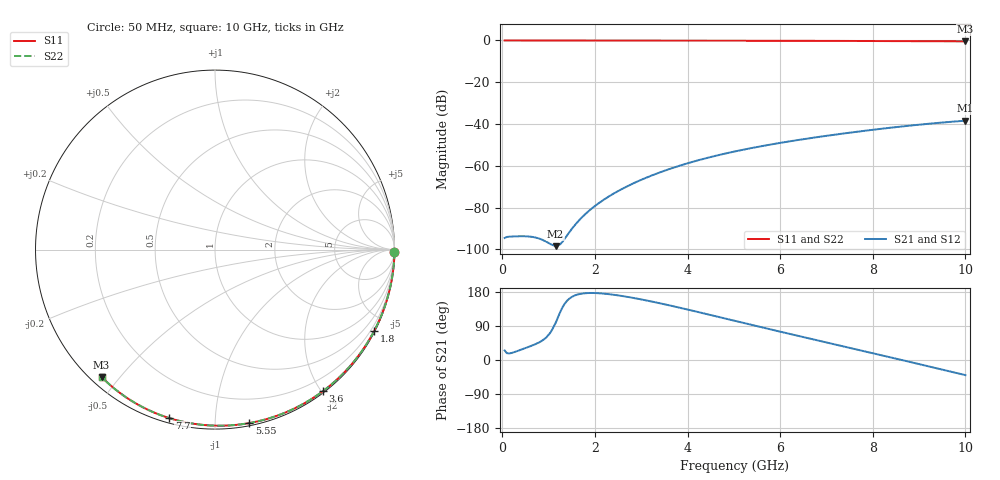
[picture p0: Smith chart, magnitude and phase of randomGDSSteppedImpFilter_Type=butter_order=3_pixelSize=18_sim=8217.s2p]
! freq	dB(S11)	phase(S11)	dB(S12)	phase(S12)
!  dB(S21)	phase(S21)	dB(S22)	phase(S22)
!S-par simulation data
#  GHz  S  DB  R 50
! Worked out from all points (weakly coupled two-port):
!   200 points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, 50 MHz to 10 GHz, reference 50 ohm
!   highest |S21| = -38.41 dB at 10 GHz (marker M1); lowest = -98.5 dB at 1.15 GHz (marker M2)
!   lowest |S11| = -0.4 dB at 10 GHz (marker M3), VSWR 39.27, Z = 1.53 - j22.4 ohm
!   |S11| at or under -10 dB: nowhere
!   |S22| runs from -0.4 to 0.0 dB; largest |S21 - S12| = 0
!   S11 on the Smith chart (normalised r, x): 50 MHz: open; 1.8 GHz: 0.04, -4.17; 3.6 GHz: 0.02, -2.02; 5.55 GHz: 0.02, -1.22; 7.7 GHz: 0.02, -0.76; 10 GHz: 0.03, -0.45
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0.05  -0.00 -0.8  -94.56 25.3  -94.56 25.3  -0.00 -0.8
0.6  -0.01 -9.1  -93.90 36.1  -93.90 36.1  -0.01 -9.1
1.15  -0.02 -17.4  -98.47 97.3  -98.47 97.3  -0.02 -17.4
1.75  -0.03 -26.3  -84.01 175.7  -84.01 175.7  -0.03 -26.3
1.8  -0.03 -27.0  -82.96 176.3  -82.96 176.3  -0.03 -27.0
1.95  -0.04 -29.2  -80.11 176.8  -80.11 176.8  -0.04 -29.2
2.25  -0.04 -33.6  -75.38 174.5  -75.38 174.5  -0.04 -33.6
2.55  -0.05 -37.9  -71.49 169.6  -71.49 169.6  -0.05 -37.9
2.95  -0.06 -43.6  -67.19 161.1  -67.19 161.1  -0.06 -43.6
3.4  -0.07 -50.0  -63.18 149.8  -63.18 149.8  -0.07 -50.0
3.6  -0.07 -52.8  -61.61 144.4  -61.61 144.4  -0.07 -52.8
3.9  -0.08 -56.9  -59.47 136.1  -59.47 136.1  -0.08 -56.9
4.3  -0.09 -62.4  -56.94 124.5  -56.94 124.5  -0.09 -62.4
4.65  -0.10 -67.1  -54.98 114.3  -54.98 114.3  -0.10 -67.1
5.05  -0.11 -72.3  -52.99 102.5  -52.99 102.5  -0.11 -72.3
5.55  -0.13 -78.8  -50.80 87.8  -50.80 87.8  -0.13 -78.8
6.1  -0.15 -85.8  -48.67 71.9  -48.67 71.9  -0.15 -85.8
6.7  -0.18 -93.2  -46.60 54.8  -46.60 54.8  -0.18 -93.2
7.7  -0.24 -105.2  -43.58 26.5  -43.58 26.5  -0.24 -105.2
8.35  -0.29 -112.9  -41.85 7.9  -41.85 7.9  -0.29 -112.9
9.15  -0.36 -122.1  -39.99 -15.2  -39.99 -15.2  -0.36 -122.0
10  -0.44 -131.7  -38.41 -39.9  -38.41 -39.9  -0.44 -131.7
